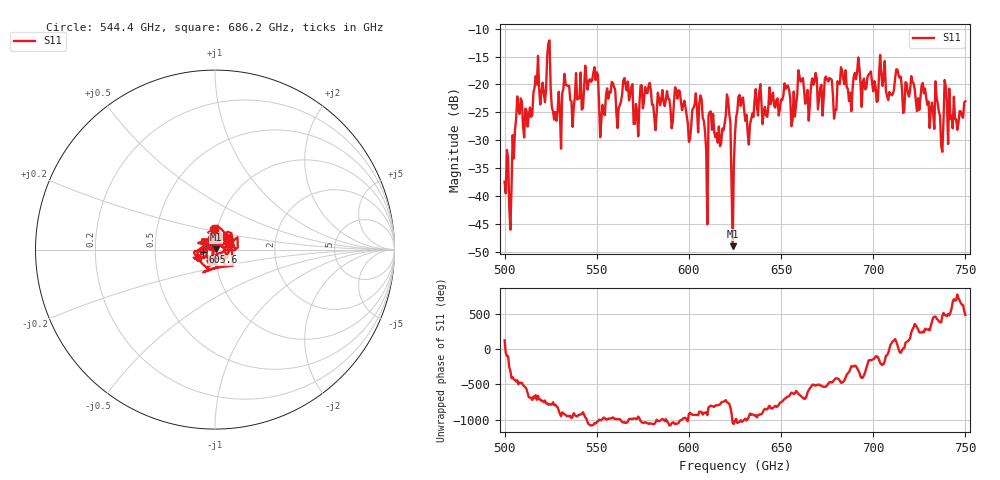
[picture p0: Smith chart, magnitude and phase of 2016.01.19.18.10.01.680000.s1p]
!Created with skrf (http://scikit-rf.org).
# GHz S RI R 50.0
!freq ReS11 ImS11
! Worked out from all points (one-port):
!   401 points, 500 GHz to 750 GHz, reference 50 ohm
!   lowest |S11| = -49.0 dB at 623.8 GHz (marker M1), VSWR 1.01, Z = 50.3 + j0.174 ohm
!   |S11| at or under -10 dB: start of sweep to end of sweep
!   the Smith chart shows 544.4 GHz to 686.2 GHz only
!   S11 on the Smith chart (normalised r, x): 544.4 GHz: 0.96, +0.22; 605.6 GHz: 0.88, -0.03; 686.2 GHz: 1.19, +0.07
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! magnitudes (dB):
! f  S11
! 500 GHz  -37.5
! 503.8 GHz  -38.6
! 507.5 GHz  -24.5
! 513.8 GHz  -24.1
! 516.9 GHz  -18.5
! 523.8 GHz  -12.6
! 526.9 GHz  -26.3
! 531.2 GHz  -21.6
! 544.4 GHz  -18.9
! 562.5 GHz  -23.7
! 593.8 GHz  -22.5
! 600 GHz  -30.3
! 605.6 GHz  -23.4
! 608.8 GHz  -28.5
! 621.2 GHz  -22.7
! 623.8 GHz  -49.0
! 625 GHz  -28.9
! 628.1 GHz  -23.9
! 631.9 GHz  -28.6
! 653.1 GHz  -20.2
! 656.2 GHz  -26.4
! 660.6 GHz  -19.5
! 686.2 GHz  -20.8
! 687.5 GHz  -21.5
! 691.2 GHz  -17.8
! 718.8 GHz  -21.5
! 736.9 GHz  -31.1
! 750 GHz  -23.0
